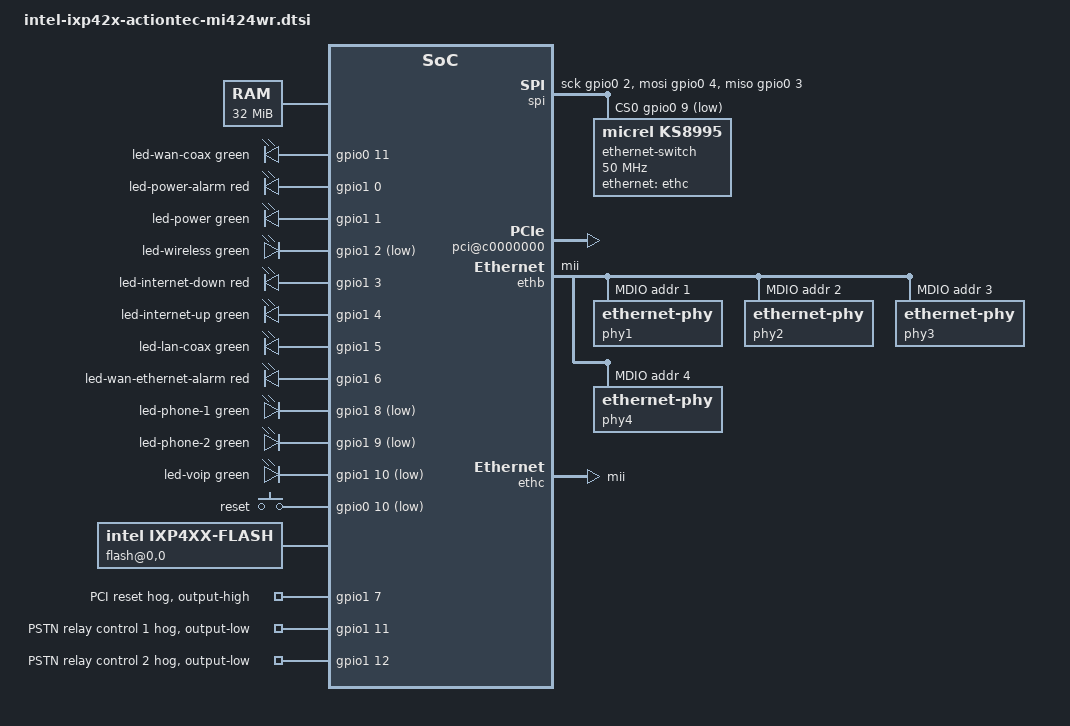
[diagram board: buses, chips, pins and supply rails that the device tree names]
// SPDX-License-Identifier: ISC
/*
 * Device Tree file for the IXP425-based Actiontec MI424WR
 * Based on a board file from OpenWrt by Jose Vasconcellos.
 */

#include "intel-ixp42x.dtsi"
#include <dt-bindings/input/input.h>
#include <dt-bindings/leds/common.h>

/ {
	#address-cells = <1>;
	#size-cells = <1>;

	memory@0 {
		device_type = "memory";
		reg = <0x00000000 0x02000000>;
	};

	chosen {
		bootargs = "console=ttyS0,115200n8";
		stdout-path = "uart1:115200n8";
	};

	leds {
		compatible = "gpio-leds";

		led-wan-coax {
			color = <LED_COLOR_ID_GREEN>;
			function = "wan-coax";
			gpios = <&gpio0 11 GPIO_ACTIVE_HIGH>;
			default-state = "off";
		};
		led-power-alarm {
			color = <LED_COLOR_ID_RED>;
			function = LED_FUNCTION_ALARM;
			gpios = <&gpio1 0 GPIO_ACTIVE_HIGH>;
			default-state = "off";
		};
		led-power {
			color = <LED_COLOR_ID_GREEN>;
			function = LED_FUNCTION_POWER;
			gpios = <&gpio1 1 GPIO_ACTIVE_HIGH>;
			default-state = "on";
			linux,default-trigger = "heartbeat";
		};
		led-wireless {
			color = <LED_COLOR_ID_GREEN>;
			function = LED_FUNCTION_WLAN;
			gpios = <&gpio1 2 GPIO_ACTIVE_LOW>;
			default-state = "off";
		};
		led-internet-down {
			color = <LED_COLOR_ID_RED>;
			function = "internet-down";
			gpios = <&gpio1 3 GPIO_ACTIVE_HIGH>;
			default-state = "off";
		};
		led-internet-up {
			color = <LED_COLOR_ID_GREEN>;
			function = "internet-up";
			gpios = <&gpio1 4 GPIO_ACTIVE_HIGH>;
			default-state = "off";
		};
		led-lan-coax {
			color = <LED_COLOR_ID_GREEN>;
			function = "lan-coax";
			gpios = <&gpio1 5 GPIO_ACTIVE_HIGH>;
			default-state = "off";
		};
		led-wan-ethernet-alarm {
			color = <LED_COLOR_ID_RED>;
			function = "wan-ethernet-alarm";
			gpios = <&gpio1 6 GPIO_ACTIVE_HIGH>;
			default-state = "off";
		};
		/* The last three LEDs are not mounted but traces exist on the PCB */
		led-phone-1 {
			color = <LED_COLOR_ID_GREEN>;
			function = "phone-1";
			gpios = <&gpio1 8 GPIO_ACTIVE_LOW>;
			default-state = "off";
		};
		led-phone-2 {
			color = <LED_COLOR_ID_GREEN>;
			function = "phone-2";
			gpios = <&gpio1 9 GPIO_ACTIVE_LOW>;
			default-state = "off";
		};
		led-voip {
			color = <LED_COLOR_ID_GREEN>;
			function = "voip";
			gpios = <&gpio1 10 GPIO_ACTIVE_LOW>;
			default-state = "off";
		};
	};

	gpio_keys {
		compatible = "gpio-keys";

		button-reset {
			wakeup-source;
			linux,code = <KEY_RESTART>;
			label = "reset";
			gpios = <&gpio0 10 GPIO_ACTIVE_LOW>;
		};
	};

	spi {
		compatible = "spi-gpio";
		#address-cells = <1>;
		#size-cells = <0>;

		sck-gpios = <&gpio0 2 GPIO_ACTIVE_HIGH>;
		mosi-gpios = <&gpio0 4 GPIO_ACTIVE_HIGH>;
		miso-gpios = <&gpio0 3 GPIO_ACTIVE_HIGH>;
		cs-gpios = <&gpio0 9 GPIO_ACTIVE_LOW>;
		num-chipselects = <1>;

		ethernet-switch@0 {
			compatible = "micrel,ks8995";
			reg = <0>;
			spi-max-frequency = <50000000>;

			ethernet-ports {
				#address-cells = <1>;
				#size-cells = <0>;

				ethernet-port@0 {
					reg = <0>;
					label = "lan1";
					phy-mode = "mii";
					phy-handle = <&phy1>;
				};
				ethernet-port@1 {
					reg = <1>;
					label = "lan2";
					phy-mode = "mii";
					phy-handle = <&phy2>;
				};
				ethernet-port@2 {
					reg = <2>;
					label = "lan3";
					phy-mode = "mii";
					phy-handle = <&phy3>;
				};
				ethernet-port@3 {
					reg = <3>;
					label = "lan4";
					phy-mode = "mii";
					phy-handle = <&phy4>;
				};
				ethernet-port@4 {
					reg = <4>;
					ethernet = <&ethc>;
					phy-mode = "mii";
					fixed-link {
						speed = <100>;
						full-duplex;
					};
				};

			};
		};
	};

	soc {
		bus@c4000000 {
			flash@0,0 {
				compatible = "intel,ixp4xx-flash", "cfi-flash";
				bank-width = <2>;
				/*
				 * 8 MB of Flash in 64 0x20000 sized blocks
				 * mapped in at CS0.
				 */
				reg = <0 0x00000000 0x0800000>;

				/* Configure expansion bus to allow writes */
				intel,ixp4xx-eb-write-enable = <1>;

				partitions {
					compatible = "redboot-fis";
					fis-index-block = <0x3f>;
				};
			};
			gpio1: gpio@1,0 {
				/* MMIO GPIO at CS1 */
				compatible = "intel,ixp4xx-expansion-bus-mmio-gpio";
				gpio-controller;
				#gpio-cells = <2>;
				big-endian;
				reg = <1 0x00000000 0x2>;
				reg-names = "dat";
				/* Expansion bus settings */
				intel,ixp4xx-eb-write-enable = <1>;

				pci-reset-hog {
					gpio-hog;
					gpios = <7 GPIO_ACTIVE_HIGH>;
					output-high;
					line-name = "PCI reset";
				};
				pstn-relay-hog-1 {
					gpio-hog;
					gpios = <11 GPIO_ACTIVE_HIGH>;
					output-low;
					line-name = "PSTN relay control 1";
				};
				pstn-relay-hog-2 {
					gpio-hog;
					gpios = <12 GPIO_ACTIVE_HIGH>;
					output-low;
					line-name = "PSTN relay control 2";
				};
			};
		};

		pci@c0000000 {
			status = "okay";

			#interrupt-cells = <1>;
			interrupt-map-mask = <0xf800 0 0 7>;
			interrupt-map =
			/* IDSEL 13 */
			<0x6800 0 0 1 &gpio0 8 IRQ_TYPE_LEVEL_LOW>, /* INT A on slot 13 is irq 8 */
			<0x6800 0 0 2 &gpio0 6 IRQ_TYPE_LEVEL_LOW>, /* INT B on slot 13 is irq 6 */
			/* IDSEL 14 */
			<0x7000 0 0 1 &gpio0 8 IRQ_TYPE_LEVEL_LOW>, /* INT A on slot 14 is irq 7 */
			<0x7000 0 0 2 &gpio0 6 IRQ_TYPE_LEVEL_LOW>, /* INT B on slot 14 is irq 8 */
			/* IDSEL 15 */
			<0x7800 0 0 1 &gpio0 8 IRQ_TYPE_LEVEL_LOW>, /* INT A on slot 15 is irq 6 */
			<0x7800 0 0 2 &gpio0 6 IRQ_TYPE_LEVEL_LOW>; /* INT B on slot 15 is irq 7 */
		};

		ethb: ethernet@c8009000 {
			status = "okay";
			queue-rx = <&qmgr 3>;
			queue-txready = <&qmgr 20>;
			phy-mode = "mii";

			mdio {
				#address-cells = <1>;
				#size-cells = <0>;

				/* 1, 2, 3 and 4 are ports on the KS8995 switch */
				phy1: ethernet-phy@1 {
					/* LAN1 */
					reg = <1>;
				};
				phy2: ethernet-phy@2 {
					/* LAN2 */
					reg = <2>;
				};
				phy3: ethernet-phy@3 {
					/* LAN3 */
					reg = <3>;
				};
				phy4: ethernet-phy@4 {
					/* LAN4 */
					reg = <4>;
				};
			};
		};

		ethc: ethernet@c800a000 {
			status = "okay";
			queue-rx = <&qmgr 4>;
			queue-txready = <&qmgr 21>;
			phy-mode = "mii";
		};
	};
};
